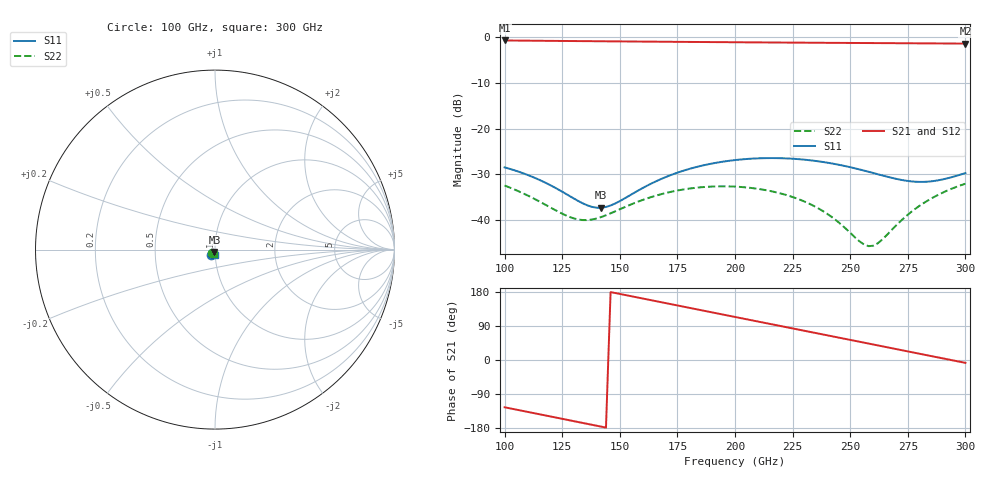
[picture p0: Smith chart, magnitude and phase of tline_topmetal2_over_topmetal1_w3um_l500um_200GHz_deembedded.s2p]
! Created with skrf 2.0.1 (http://scikit-rf.org).
# GHz S DB R 50.0
!freq dBS11 angS11 dBS21 angS21 dBS12 angS12 dBS22 angS22
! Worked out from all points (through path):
!   101 points, 100 GHz to 300 GHz, reference 50 ohm
!   highest |S21| = -0.76 dB at 100 GHz (marker M1); lowest = -1.4 dB at 300 GHz (marker M2)
!   group delay of S21, straight-line fit = 3.37 ps
!   lowest |S11| = -37.3 dB at 142 GHz (marker M3), VSWR 1.03, Z = 49.7 - j1.31 ohm
!   |S11| at or under -10 dB: start of sweep to end of sweep
!   |S22| runs from -45.7 to -32.1 dB; largest |S21 - S12| = 1e-13
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100  -28.49 -124.5  -0.76 -124.8  -0.76 -124.8  -32.45 -127.9
118  -31.90 -136.6  -0.84 -146.7  -0.84 -146.7  -36.72 -137.2
128  -34.68 -133.8  -0.88 -158.9  -0.88 -158.9  -39.27 -128.8
134  -36.36 -125.1  -0.91 -166.2  -0.91 -166.2  -40.00 -117.7
142  -37.30 -104.1  -0.94 -176.0  -0.94 -176.0  -39.32 -103.4
146  -36.81 -93.3  -0.95 179.2  -0.95 179.2  -38.52 -99.0
154  -34.70 -79.6  -0.98 169.5  -0.98 169.5  -36.76 -96.4
168  -31.01 -76.1  -1.04 152.4  -1.04 152.4  -34.33 -103.3
184  -28.31 -84.4  -1.10 133.0  -1.10 133.0  -32.89 -118.4
200  -26.89 -96.1  -1.15 113.6  -1.15 113.6  -32.69 -135.9
210  -26.51 -103.8  -1.18 101.5  -1.18 101.5  -33.18 -146.8
218  -26.46 -109.7  -1.21 91.8  -1.21 91.8  -33.95 -155.2
234  -27.02 -120.1  -1.26 72.4  -1.26 72.4  -36.85 -169.0
242  -27.63 -124.1  -1.28 62.7  -1.28 62.7  -39.32 -171.7
254  -28.93 -127.0  -1.32 48.2  -1.32 48.2  -44.62 -153.9
258  -29.45 -126.8  -1.33 43.3  -1.33 43.3  -45.70 -135.0
262  -29.98 -125.8  -1.34 38.5  -1.34 38.5  -45.06 -114.1
268  -30.76 -122.5  -1.35 31.2  -1.35 31.2  -42.16 -95.5
274  -31.38 -117.1  -1.37 24.0  -1.37 24.0  -39.25 -90.1
282  -31.65 -107.3  -1.39 14.3  -1.39 14.3  -36.25 -91.9
290  -31.13 -97.7  -1.42 4.6  -1.42 4.6  -34.04 -98.0
300  -29.74 -90.0  -1.45 -7.6  -1.45 -7.6  -32.05 -108.0
